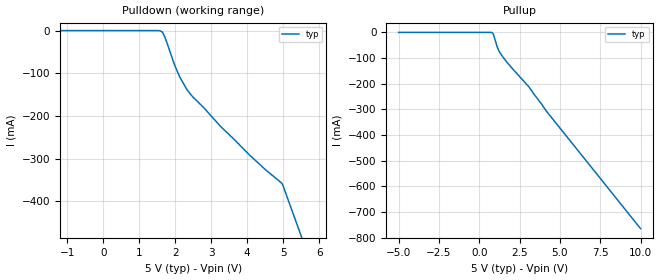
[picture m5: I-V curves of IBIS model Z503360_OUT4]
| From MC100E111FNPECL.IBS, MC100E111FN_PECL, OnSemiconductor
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| (C) COPYRIGHT 1993-2000
| MENTOR GRAPHICS CORPORATION
| ICX STANDARD LIBRARY, ICX PROJECT MODELING,
| ICX CUSTOM MODELING, ICX VENDOR MODEL
| ALL RIGHTS RESERVED.
| THE FOLLOWING ARE TRADEMARKS OR SERVICE MARKS OF
| MENTOR GRAPHICS CORPORATION:ICX (R), ICX STANDARD
| LIBRARY(R), ICX PROJECT MODELING(R), ICX CUSTOM
| MODELING(R), qualityIBIS(TM), MODELVIEWER(TM),
| AND MODELEDITOR(TM)
| ALL COPIES OF SOFTWARE, INCLUDING BUT NOT LIMITED TO
| ANY MODIFICATIONS, ENHANCEMENTS OR DERIVATIVE WORKS,
| MUST CONTAIN ALL MENTOR GRAPHICS CORPORATION'S
| NOTICES AND LEGENDS, INCLUDING THOSE EMBEDDED IN
| SOFTWARE AND THOSE AFFIXED TO SOFTWARE MEDIUM
| AND CONTAINER, AS RECEIVED FROM MENTOR GRAPHICS
| CORPORATION.
| Model Application Version 1.89 2/18/99.
[Model] Z503360_OUT4
Model_type Output_ECL
Vref=3.000V
Rref=50.00ohms
Cref=0.000F
Vmeas=3.677V
C_comp 8.000pF NA NA
| variable typ   min   max
[Voltage Range] 5.000V NA NA
[POWER Clamp Reference] 5.000V NA NA
[Pullup Reference] 5.000V NA NA
[Pulldown Reference] 5.000V NA NA
[GND Clamp Reference] 0.000V NA NA
[GND Clamp]
-5V       0A         NA         NA
10V       0A         NA         NA
[Pulldown]
-5V       0A         NA         NA
1.572V    -500uA     NA         NA
1.654V    -5.1mA     NA         NA
1.714V    -15.4mA    NA         NA
1.978V    -79.9mA    NA         NA
2.12V     -108mA     NA         NA
2.323V    -138.2mA   NA         NA
2.486V    -155.3mA   NA         NA
3.257V    -224.4mA   NA         NA
4.068V    -291.9mA   NA         NA
4.982V    -360.3mA   NA         NA
10V       -1.531A    NA         NA
[Pullup]
-5V       0A         NA         NA
817mV     -2mA       NA         NA
898mV     -11.9mA    NA         NA
1.121V    -58mA      NA         NA
1.222V    -72.6mA    NA         NA
1.365V    -87.3mA    NA         NA
2.075V    -142.6mA   NA         NA
3.089V    -212.8mA   NA         NA
4.144V    -305.5mA   NA         NA
10V       -764.7mA   NA         NA
[POWER Clamp]
-5V       0A         NA         NA
10V       0A         NA         NA
[Ramp]
| variable typ min max
dV/dt_r 472.0m/267.4p NA NA
dV/dt_f 472.0m/215.5p NA NA
R_load = 500.0Ohms
